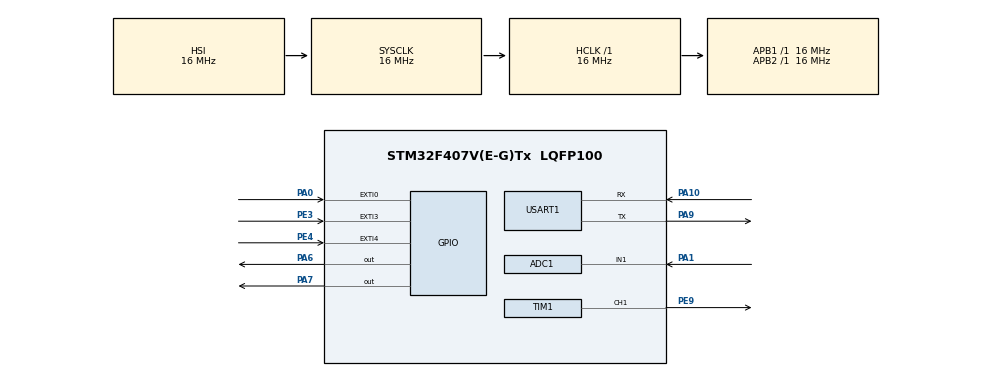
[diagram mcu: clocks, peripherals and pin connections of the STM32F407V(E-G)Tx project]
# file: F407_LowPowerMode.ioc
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ADC1.Channel-0\#ChannelRegularConversion=ADC_CHANNEL_1
ADC1.NbrOfConversionFlag=1
ADC1.Rank-0\#ChannelRegularConversion=1
ADC1.SamplingTime-0\#ChannelRegularConversion=ADC_SAMPLETIME_3CYCLES
ADC1.master=1
Mcu.Family=STM32F4
Mcu.Name=STM32F407V(E-G)Tx
Mcu.Package=LQFP100
NVIC.EXTI0_IRQn=true\:0\:0\:false\:false\:true\:true
NVIC.EXTI3_IRQn=true\:0\:0\:false\:false\:true\:true
NVIC.EXTI4_IRQn=true\:0\:0\:false\:false\:true\:true
NVIC.PriorityGroup=NVIC_PRIORITYGROUP_4
NVIC.USART1_IRQn=true\:0\:0\:false\:false\:true\:true
PA0-WKUP.GPIO_PuPd=GPIO_PULLDOWN
PA0-WKUP.Signal=GPXTI0
PA1.Signal=ADCx_IN1
PA10.Mode=Asynchronous
PA10.Signal=USART1_RX
PA13.Mode=Serial_Wire
PA13.Signal=SYS_JTMS-SWDIO
PA14.Mode=Serial_Wire
PA14.Signal=SYS_JTCK-SWCLK
PA6.GPIO_ModeDefaultOutputPP=GPIO_MODE_OUTPUT_OD
PA6.Signal=GPIO_Output
PA7.GPIO_ModeDefaultOutputPP=GPIO_MODE_OUTPUT_OD
PA7.Signal=GPIO_Output
PA9.Mode=Asynchronous
PA9.Signal=USART1_TX
PE3.GPIO_ModeDefaultEXTI=GPIO_MODE_IT_FALLING
PE3.GPIO_PuPd=GPIO_PULLUP
PE3.Signal=GPXTI3
PE4.GPIO_ModeDefaultEXTI=GPIO_MODE_IT_FALLING
PE4.GPIO_PuPd=GPIO_PULLUP
PE4.Signal=GPXTI4
PE9.Signal=S_TIM1_CH1
ProjectManager.HeapSize=0x200
ProjectManager.StackSize=0x400
ProjectManager.TargetToolchain=MDK-ARM V5
RCC.AHBFreq_Value=16000000
RCC.APB1Freq_Value=16000000
RCC.APB2Freq_Value=16000000
RCC.CortexFreq_Value=16000000
RCC.HSE_VALUE=25000000
RCC.HSI_VALUE=16000000
RCC.LSE_VALUE=32768
RCC.SYSCLKFreq_VALUE=16000000
RCC.VCOOutputFreq_Value=192000000
SH.ADCx_IN1.0=ADC1_IN1,IN1
SH.S_TIM1_CH1.0=TIM1_CH1,Output Compare1 CH1
TIM1.Channel-Output\ Compare1\ CH1=TIM_CHANNEL_1
USART1.VirtualMode=VM_ASYNC
board=F407_LowPowerMode

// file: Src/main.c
/**
  ******************************************************************************
  * @file           : main.c
  * @brief          : Main program body
  ******************************************************************************
  ** This notice applies to any and all portions of this file
  * that are not between comment pairs USER CODE BEGIN and
  * USER CODE END. Other portions of this file, whether
  * inserted by the user or by software development tools
  * are owned by their respective copyright owners.
  *
  * COPYRIGHT(c) 2019 STMicroelectronics
  *
  * Redistribution and use in source and binary forms, with or without modification,
  * are permitted provided that the following conditions are met:
  *   1. Redistributions of source code must retain the above copyright notice,
  *      this list of conditions and the following disclaimer.
  *   2. Redistributions in binary form must reproduce the above copyright notice,
  *      this list of conditions and the following disclaimer in the documentation
  *      and/or other materials provided with the distribution.
  *   3. Neither the name of STMicroelectronics nor the names of its contributors
  *      may be used to endorse or promote products derived from this software
  *      without specific prior written permission.
  *
  * THIS SOFTWARE IS PROVIDED BY THE COPYRIGHT HOLDERS AND CONTRIBUTORS "AS IS"
  * AND ANY EXPRESS OR IMPLIED WARRANTIES, INCLUDING, BUT NOT LIMITED TO, THE
  * IMPLIED WARRANTIES OF MERCHANTABILITY AND FITNESS FOR A PARTICULAR PURPOSE ARE
  * DISCLAIMED. IN NO EVENT SHALL THE COPYRIGHT HOLDER OR CONTRIBUTORS BE LIABLE
  * FOR ANY DIRECT, INDIRECT, INCIDENTAL, SPECIAL, EXEMPLARY, OR CONSEQUENTIAL
  * DAMAGES (INCLUDING, BUT NOT LIMITED TO, PROCUREMENT OF SUBSTITUTE GOODS OR
  * SERVICES; LOSS OF USE, DATA, OR PROFITS; OR BUSINESS INTERRUPTION) HOWEVER
  * CAUSED AND ON ANY THEORY OF LIABILITY, WHETHER IN CONTRACT, STRICT LIABILITY,
  * OR TORT (INCLUDING NEGLIGENCE OR OTHERWISE) ARISING IN ANY WAY OUT OF THE USE
  * OF THIS SOFTWARE, EVEN IF ADVISED OF THE POSSIBILITY OF SUCH DAMAGE.
  *
  ******************************************************************************
  */
#include "main.h"
#include "stm32f4xx_hal.h"

ADC_HandleTypeDef hadc1;

TIM_HandleTypeDef htim1;

UART_HandleTypeDef huart1;

/* USER CODE BEGIN PV */
/* Private variables ---------------------------------------------------------*/

/* USER CODE END PV */

void SystemClock_Config(void);
static void MX_GPIO_Init(void);
static void MX_USART1_UART_Init(void);
static void MX_ADC1_Init(void);
static void MX_TIM1_Init(void);

void HAL_TIM_MspPostInit(TIM_HandleTypeDef *htim);

/* USER CODE BEGIN PFP */
/* Private function prototypes -----------------------------------------------*/

/* USER CODE END PFP */

/* USER CODE BEGIN 0 */
void HAL_SYSTICK_Callback(void)
{
	static int count;
	count++;
	if (count%1000==0)
	{
		char s[10];
		uint16_t length=sprintf(s,"%d\n",count/1000);
		HAL_UART_Transmit(&huart1, (uint8_t *)s, length, 1);
		HAL_GPIO_TogglePin(GPIOA, GPIO_PIN_6);
	}
}

void HAL_GPIO_EXTI_Callback(uint16_t GPIO_Pin)
{
	if (GPIO_Pin==GPIO_PIN_0)
	{

	}
	else if(GPIO_Pin==GPIO_PIN_3)
	{

	}
	else if(GPIO_Pin==GPIO_PIN_4)
	{
		if(HAL_GPIO_ReadPin(GPIOE, GPIO_PIN_4)==GPIO_PIN_RESET)
		{
			HAL_Delay(10);
			if(HAL_GPIO_ReadPin(GPIOE, GPIO_PIN_4)==GPIO_PIN_RESET)
			{
				HAL_GPIO_WritePin(GPIOA, GPIO_PIN_6, GPIO_PIN_SET);	//关LED

//				__HAL_PWR_CLEAR_FLAG(PWR_FLAG_WU);
//				HAL_PWR_EnableWakeUpPin(PWR_WAKEUP_PIN1);
//				HAL_PWR_EnterSTANDBYMode();

				HAL_SuspendTick();
				HAL_PWR_EnterSTOPMode(PWR_LOWPOWERREGULATOR_ON, PWR_STOPENTRY_WFI);
				HAL_ResumeTick();
				SystemClock_Config();

				//MX_GPIO_Init();
				//MX_USART1_UART_Init();
			}
		}

	}
}
/* USER CODE END 0 */

int main(void)
{

  /* MCU Configuration----------------------------------------------------------*/

  /* Reset of all peripherals, Initializes the Flash interface and the Systick. */
  HAL_Init();

  /* Configure the system clock */
  SystemClock_Config();

  /* Initialize all configured peripherals */
  MX_GPIO_Init();
  MX_USART1_UART_Init();
  MX_ADC1_Init();
  MX_TIM1_Init();

  /* Infinite loop */
  while (1)
  {

  }

}

void SystemClock_Config(void)
{

  RCC_OscInitTypeDef RCC_OscInitStruct;
  RCC_ClkInitTypeDef RCC_ClkInitStruct;

    /**Configure the main internal regulator output voltage
    */
  __HAL_RCC_PWR_CLK_ENABLE();

  __HAL_PWR_VOLTAGESCALING_CONFIG(PWR_REGULATOR_VOLTAGE_SCALE1);

    /**Initializes the CPU, AHB and APB busses clocks
    */
  RCC_OscInitStruct.OscillatorType = RCC_OSCILLATORTYPE_HSI;
  RCC_OscInitStruct.HSIState = RCC_HSI_ON;
  RCC_OscInitStruct.HSICalibrationValue = 16;
  RCC_OscInitStruct.PLL.PLLState = RCC_PLL_NONE;
  if (HAL_RCC_OscConfig(&RCC_OscInitStruct) != HAL_OK)
  {
    _Error_Handler(__FILE__, __LINE__);
  }

    /**Initializes the CPU, AHB and APB busses clocks
    */
  RCC_ClkInitStruct.ClockType = RCC_CLOCKTYPE_HCLK|RCC_CLOCKTYPE_SYSCLK
                              |RCC_CLOCKTYPE_PCLK1|RCC_CLOCKTYPE_PCLK2;
  RCC_ClkInitStruct.SYSCLKSource = RCC_SYSCLKSOURCE_HSI;
  RCC_ClkInitStruct.AHBCLKDivider = RCC_SYSCLK_DIV1;
  RCC_ClkInitStruct.APB1CLKDivider = RCC_HCLK_DIV1;
  RCC_ClkInitStruct.APB2CLKDivider = RCC_HCLK_DIV1;

  if (HAL_RCC_ClockConfig(&RCC_ClkInitStruct, FLASH_LATENCY_0) != HAL_OK)
  {
    _Error_Handler(__FILE__, __LINE__);
  }

    /**Configure the Systick interrupt time
    */
  HAL_SYSTICK_Config(HAL_RCC_GetHCLKFreq()/1000);

    /**Configure the Systick
    */
  HAL_SYSTICK_CLKSourceConfig(SYSTICK_CLKSOURCE_HCLK);

  /* SysTick_IRQn interrupt configuration */
  HAL_NVIC_SetPriority(SysTick_IRQn, 0, 0);
}

/* ADC1 init function */
static void MX_ADC1_Init(void)
{

  ADC_ChannelConfTypeDef sConfig;

    /**Configure the global features of the ADC (Clock, Resolution, Data Alignment and number of conversion)
    */
  hadc1.Instance = ADC1;
  hadc1.Init.ClockPrescaler = ADC_CLOCK_SYNC_PCLK_DIV2;
  hadc1.Init.Resolution = ADC_RESOLUTION_12B;
  hadc1.Init.ScanConvMode = DISABLE;
  hadc1.Init.ContinuousConvMode = DISABLE;
  hadc1.Init.DiscontinuousConvMode = DISABLE;
  hadc1.Init.ExternalTrigConvEdge = ADC_EXTERNALTRIGCONVEDGE_NONE;
  hadc1.Init.ExternalTrigConv = ADC_SOFTWARE_START;
  hadc1.Init.DataAlign = ADC_DATAALIGN_RIGHT;
  hadc1.Init.NbrOfConversion = 1;
  hadc1.Init.DMAContinuousRequests = DISABLE;
  hadc1.Init.EOCSelection = ADC_EOC_SINGLE_CONV;
  if (HAL_ADC_Init(&hadc1) != HAL_OK)
  {
    _Error_Handler(__FILE__, __LINE__);
  }

    /**Configure for the selected ADC regular channel its corresponding rank in the sequencer and its sample time.
    */
  sConfig.Channel = ADC_CHANNEL_1;
  sConfig.Rank = 1;
  sConfig.SamplingTime = ADC_SAMPLETIME_3CYCLES;
  if (HAL_ADC_ConfigChannel(&hadc1, &sConfig) != HAL_OK)
  {
    _Error_Handler(__FILE__, __LINE__);
  }

}

/* TIM1 init function */
static void MX_TIM1_Init(void)
{

  TIM_MasterConfigTypeDef sMasterConfig;
  TIM_OC_InitTypeDef sConfigOC;
  TIM_BreakDeadTimeConfigTypeDef sBreakDeadTimeConfig;

  htim1.Instance = TIM1;
  htim1.Init.Prescaler = 0;
  htim1.Init.CounterMode = TIM_COUNTERMODE_UP;
  htim1.Init.Period = 0;
  htim1.Init.ClockDivision = TIM_CLOCKDIVISION_DIV1;
  htim1.Init.RepetitionCounter = 0;
  if (HAL_TIM_OC_Init(&htim1) != HAL_OK)
  {
    _Error_Handler(__FILE__, __LINE__);
  }

  sMasterConfig.MasterOutputTrigger = TIM_TRGO_RESET;
  sMasterConfig.MasterSlaveMode = TIM_MASTERSLAVEMODE_DISABLE;
  if (HAL_TIMEx_MasterConfigSynchronization(&htim1, &sMasterConfig) != HAL_OK)
  {
    _Error_Handler(__FILE__, __LINE__);
  }

  sConfigOC.OCMode = TIM_OCMODE_TIMING;
  sConfigOC.Pulse = 0;
  sConfigOC.OCPolarity = TIM_OCPOLARITY_HIGH;
  sConfigOC.OCNPolarity = TIM_OCNPOLARITY_HIGH;
  sConfigOC.OCFastMode = TIM_OCFAST_DISABLE;
  sConfigOC.OCIdleState = TIM_OCIDLESTATE_RESET;
  sConfigOC.OCNIdleState = TIM_OCNIDLESTATE_RESET;
  if (HAL_TIM_OC_ConfigChannel(&htim1, &sConfigOC, TIM_CHANNEL_1) != HAL_OK)
  {
    _Error_Handler(__FILE__, __LINE__);
  }

  sBreakDeadTimeConfig.OffStateRunMode = TIM_OSSR_DISABLE;
  sBreakDeadTimeConfig.OffStateIDLEMode = TIM_OSSI_DISABLE;
  sBreakDeadTimeConfig.LockLevel = TIM_LOCKLEVEL_OFF;
  sBreakDeadTimeConfig.DeadTime = 0;
  sBreakDeadTimeConfig.BreakState = TIM_BREAK_DISABLE;
  sBreakDeadTimeConfig.BreakPolarity = TIM_BREAKPOLARITY_HIGH;
  sBreakDeadTimeConfig.AutomaticOutput = TIM_AUTOMATICOUTPUT_DISABLE;
  if (HAL_TIMEx_ConfigBreakDeadTime(&htim1, &sBreakDeadTimeConfig) != HAL_OK)
  {
    _Error_Handler(__FILE__, __LINE__);
  }

  HAL_TIM_MspPostInit(&htim1);

}

/* USART1 init function */
static void MX_USART1_UART_Init(void)
{

  huart1.Instance = USART1;
  huart1.Init.BaudRate = 115200;
  huart1.Init.WordLength = UART_WORDLENGTH_8B;
  huart1.Init.StopBits = UART_STOPBITS_1;
  huart1.Init.Parity = UART_PARITY_NONE;
  huart1.Init.Mode = UART_MODE_TX_RX;
  huart1.Init.HwFlowCtl = UART_HWCONTROL_NONE;
  huart1.Init.OverSampling = UART_OVERSAMPLING_16;
  if (HAL_UART_Init(&huart1) != HAL_OK)
  {
    _Error_Handler(__FILE__, __LINE__);
  }

}

/** Configure pins as
        * Analog
        * Input
        * Output
        * EVENT_OUT
        * EXTI
*/
static void MX_GPIO_Init(void)
{

  GPIO_InitTypeDef GPIO_InitStruct;

  /* GPIO Ports Clock Enable */
  __HAL_RCC_GPIOE_CLK_ENABLE();
  __HAL_RCC_GPIOA_CLK_ENABLE();

  /*Configure GPIO pin Output Level */
  HAL_GPIO_WritePin(GPIOA, GPIO_PIN_6|GPIO_PIN_7, GPIO_PIN_SET);

  /*Configure GPIO pins : PE3 PE4 */
  GPIO_InitStruct.Pin = GPIO_PIN_3|GPIO_PIN_4;
  GPIO_InitStruct.Mode = GPIO_MODE_IT_FALLING;
  GPIO_InitStruct.Pull = GPIO_PULLUP;
  HAL_GPIO_Init(GPIOE, &GPIO_InitStruct);

  /*Configure GPIO pin : PA0 */
  GPIO_InitStruct.Pin = GPIO_PIN_0;
  GPIO_InitStruct.Mode = GPIO_MODE_IT_RISING;
  GPIO_InitStruct.Pull = GPIO_PULLDOWN;
  HAL_GPIO_Init(GPIOA, &GPIO_InitStruct);

  /*Configure GPIO pins : PA6 PA7 */
  GPIO_InitStruct.Pin = GPIO_PIN_6|GPIO_PIN_7;
  GPIO_InitStruct.Mode = GPIO_MODE_OUTPUT_OD;
  GPIO_InitStruct.Pull = GPIO_NOPULL;
  GPIO_InitStruct.Speed = GPIO_SPEED_FREQ_LOW;
  HAL_GPIO_Init(GPIOA, &GPIO_InitStruct);

  /* EXTI interrupt init*/
  HAL_NVIC_SetPriority(EXTI0_IRQn, 1, 0);
  HAL_NVIC_EnableIRQ(EXTI0_IRQn);

  HAL_NVIC_SetPriority(EXTI3_IRQn, 1, 0);
  HAL_NVIC_EnableIRQ(EXTI3_IRQn);

  HAL_NVIC_SetPriority(EXTI4_IRQn, 1, 0);
  HAL_NVIC_EnableIRQ(EXTI4_IRQn);

}

void _Error_Handler(char *file, int line)
{
  while(1)
  {
  }
}

/************************ (C) COPYRIGHT STMicroelectronics *****END OF FILE****/
